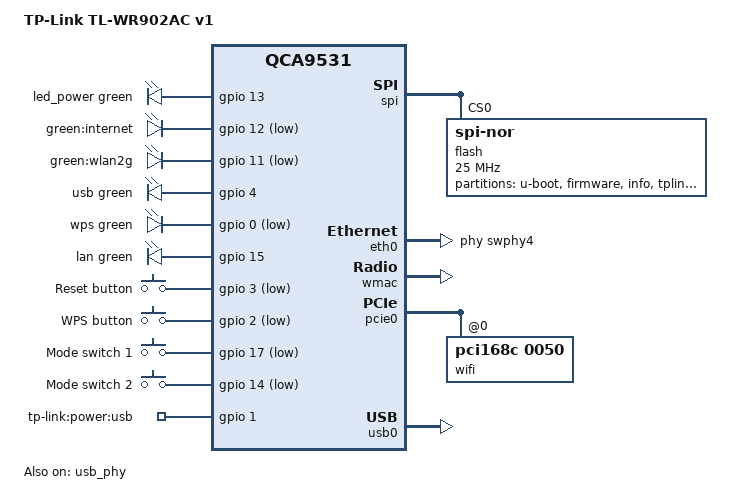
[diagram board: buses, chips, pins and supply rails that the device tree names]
// SPDX-License-Identifier: GPL-2.0-or-later OR MIT

#include "qca953x.dtsi"

#include <dt-bindings/gpio/gpio.h>
#include <dt-bindings/input/input.h>
#include <dt-bindings/leds/common.h>

/ {
	compatible = "tplink,tl-wr902ac-v1", "qca,qca9531";
	model = "TP-Link TL-WR902AC v1";

	aliases {
		led-boot = &led_power;
		led-failsafe = &led_power;
		led-running = &led_power;
		led-upgrade = &led_power;
		label-mac-device = &wmac;
	};

	leds {
		compatible = "gpio-leds";

		led_power: power {
			function = LED_FUNCTION_POWER;
			color = <LED_COLOR_ID_GREEN>;
			gpios = <&gpio 13 GPIO_ACTIVE_HIGH>;
			default-state = "on";
		};

		internet {
			label = "green:internet";
			gpios = <&gpio 12 GPIO_ACTIVE_LOW>;
		};

		wlan2g {
			label = "green:wlan2g";
			gpios = <&gpio 11 GPIO_ACTIVE_LOW>;
			linux,default-trigger = "phy0tpt";
		};

		usb {
			function = LED_FUNCTION_USB;
			color = <LED_COLOR_ID_GREEN>;
			gpios = <&gpio 4 GPIO_ACTIVE_HIGH>;
			trigger-sources = <&hub_port0>;
			linux,default-trigger = "usbport";
		};

		wps {
			function = LED_FUNCTION_WPS;
			color = <LED_COLOR_ID_GREEN>;
			gpios = <&gpio 0 GPIO_ACTIVE_LOW>;
		};

		lan {
			function = LED_FUNCTION_LAN;
			color = <LED_COLOR_ID_GREEN>;
			gpios = <&gpio 15 GPIO_ACTIVE_HIGH>;
		};
	};

	keys {
		compatible = "gpio-keys";

		reset {
			label = "Reset button";
			linux,code = <KEY_RESTART>;
			gpios = <&gpio 3 GPIO_ACTIVE_LOW>;
		};

		wps {
			label = "WPS button";
			linux,code = <KEY_WPS_BUTTON>;
			gpios = <&gpio 2 GPIO_ACTIVE_LOW>;
		};

		sw1 {
			label = "Mode switch 1";
			linux,input-type = <EV_SW>;
			linux,code = <BTN_0>;
			gpios = <&gpio 17 GPIO_ACTIVE_LOW>;
		};

		sw2 {
			label = "Mode switch 2";
			linux,input-type = <EV_SW>;
			linux,code = <BTN_1>;
			gpios = <&gpio 14 GPIO_ACTIVE_LOW>;
		};
	};

	gpio-export {
		compatible = "gpio-export";

		gpio_usb_power {
			gpio-export,name = "tp-link:power:usb";
			gpio-export,output = <1>;
			gpios = <&gpio 1 GPIO_ACTIVE_HIGH>;
		};
	};
};

&spi {
	status = "okay";

	flash@0 {
		compatible = "jedec,spi-nor";
		reg = <0>;
		spi-max-frequency = <25000000>;

		partitions {
			compatible = "fixed-partitions";
			#address-cells = <1>;
			#size-cells = <1>;

			partition@0 {
				label = "u-boot";
				reg = <0x000000 0x020000>;
				read-only;
			};

			partition@20000 {
				compatible = "tplink,firmware";
				label = "firmware";
				reg = <0x020000 0x730000>;
			};

			partition@750000 {
				label = "info";
				reg = <0x750000 0x010000>;
				read-only;

				nvmem-layout {
					compatible = "fixed-layout";
					#address-cells = <1>;
					#size-cells = <1>;

					macaddr_info_8: macaddr@8 {
						compatible = "mac-base";
						reg = <0x8 0x6>;
						#nvmem-cell-cells = <1>;
					};
				};
			};

			partition@760000 {
				label = "tplink";
				reg = <0x760000 0x090000>;
				read-only;
			};

			partition@7f0000 {
				label = "art";
				reg = <0x7f0000 0x010000>;
				read-only;

				nvmem-layout {
					compatible = "fixed-layout";
					#address-cells = <1>;
					#size-cells = <1>;

					cal_art_1000: calibration@1000 {
						reg = <0x1000 0x440>;
					};

					cal_art_5000: calibration@5000 {
						reg = <0x5000 0x844>;
					};
				};
			};
		};
	};
};

&eth0 {
	status = "okay";

	phy-handle = <&swphy4>;

	nvmem-cells = <&macaddr_info_8 1>;
	nvmem-cell-names = "mac-address";
};

&eth1 {
	compatible = "syscon", "simple-mfd";
};

&wmac {
	status = "okay";

	nvmem-cells = <&macaddr_info_8 0>, <&cal_art_1000>;
	nvmem-cell-names = "mac-address", "calibration";
};

&pcie0 {
	status = "okay";

	wifi@0,0 {
		compatible = "pci168c,0050";
		reg = <0x0000 0 0 0 0>;
		nvmem-cells = <&cal_art_5000>, <&macaddr_info_8 (-1)>;
		nvmem-cell-names = "calibration", "mac-address";
	};
};

&usb_phy {
	status = "okay";
};

&usb0 {
	status = "okay";
};
